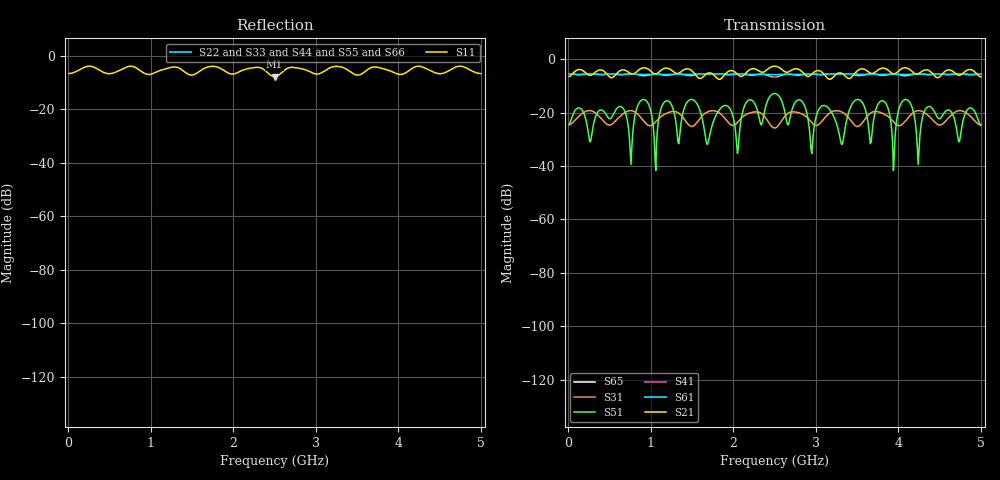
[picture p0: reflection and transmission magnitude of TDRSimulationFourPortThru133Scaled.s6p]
# MHz MA S R 50.0
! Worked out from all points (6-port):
!   500 points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, 10 MHz to 5 GHz, reference 50 ohm
!   strongest paths, dB at 10 MHz, 1.26 GHz, 2.51 GHz, 3.76 GHz, 5 GHz:
!     S21: -6.5, -4.3, -2.6, -3.9, -6.5
!     S61: -5.5, -5.6, -5.8, -5.7, -5.5
!     S41: -5.5, -5.7, -6.7, -5.9, -5.5
!     S51: -24.4, -17.7, -12.9, -16.5, -24.6
!     S31: -24.6, -19.6, -25.7, -19.7, -24.6
!     S65: -, -, -, -, -
!   lowest |S11| = -7.7 dB at 2.5 GHz (marker M1), VSWR 2.40, Z = 35.5 - j35.2 ohm
!   |S11| at or under -10 dB: nowhere
